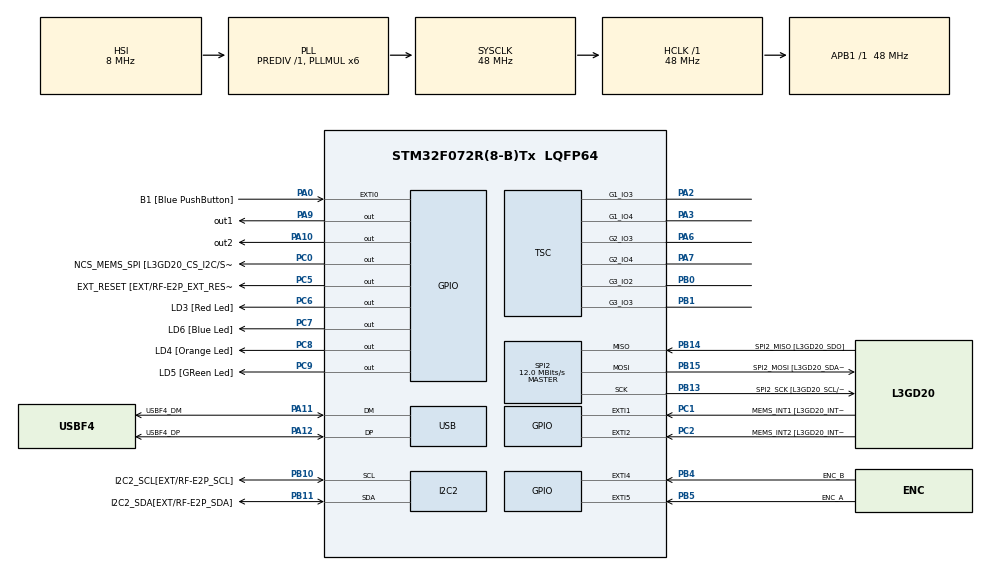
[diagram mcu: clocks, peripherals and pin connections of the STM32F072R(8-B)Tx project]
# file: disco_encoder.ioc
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I2C2.Timing=0x20303E5D
Mcu.Family=STM32F0
Mcu.Name=STM32F072R(8-B)Tx
Mcu.Package=LQFP64
NVIC.EXTI4_15_IRQn=true\:0\:0\:false\:false\:true\:true\:true
NVIC.TIM14_IRQn=true\:0\:0\:false\:false\:true\:true\:true
PA0.GPIO_Label=B1 [Blue PushButton]
PA0.GPIO_ModeDefaultEXTI=GPIO_MODE_EVT_RISING
PA0.Signal=GPXTI0
PA10.GPIO_Label=out2
PA10.Signal=GPIO_Output
PA11.GPIO_Label=USBF4_DM
PA11.Mode=Device
PA11.Signal=USB_DM
PA12.GPIO_Label=USBF4_DP
PA12.Mode=Device
PA12.Signal=USB_DP
PA13.GPIO_Label=SWDIO
PA13.Mode=Serial_Wire
PA13.Signal=SYS_SWDIO
PA14.GPIO_Label=SWCLK
PA14.Mode=Serial_Wire
PA14.Signal=SYS_SWCLK
PA2.Mode=G1_IO3-Channel
PA2.Signal=TSC_G1_IO3
PA3.Mode=G1_IO4-Sampling
PA3.Signal=TSC_G1_IO4
PA6.Mode=G2_IO3-Channel
PA6.Signal=TSC_G2_IO3
PA7.Mode=G2_IO4-Sampling
PA7.Signal=TSC_G2_IO4
PA9.GPIO_Label=out1
PA9.Signal=GPIO_Output
PB0.Mode=G3_IO2-Channel
PB0.Signal=TSC_G3_IO2
PB1.Mode=G3_IO3-Sampling
PB1.Signal=TSC_G3_IO3
PB10.GPIO_Label=I2C2_SCL[EXT/RF-E2P_SCL]
PB10.Mode=I2C
PB10.Signal=I2C2_SCL
PB11.GPIO_Label=I2C2_SDA[EXT/RF-E2P_SDA]
PB11.Mode=I2C
PB11.Signal=I2C2_SDA
PB13.GPIO_Label=SPI2_SCK [L3GD20_SCL/SPC]
PB13.Mode=Full_Duplex_Master
PB13.Signal=SPI2_SCK
PB14.GPIO_Label=SPI2_MISO [L3GD20_SDO]
PB14.Mode=Full_Duplex_Master
PB14.Signal=SPI2_MISO
PB15.GPIO_Label=SPI2_MOSI [L3GD20_SDA/SDI]
PB15.Mode=Full_Duplex_Master
PB15.Signal=SPI2_MOSI
PB4.GPIO_Label=ENC_B
PB4.GPIO_ModeDefaultEXTI=GPIO_MODE_IT_RISING_FALLING
PB4.GPIO_PuPd=GPIO_PULLDOWN
PB4.Signal=GPXTI4
PB5.GPIO_Label=ENC_A
PB5.GPIO_ModeDefaultEXTI=GPIO_MODE_IT_RISING_FALLING
PB5.GPIO_PuPd=GPIO_PULLDOWN
PB5.Signal=GPXTI5
PC0.GPIO_Label=NCS_MEMS_SPI [L3GD20_CS_I2C/SPI]
PC0.Signal=GPIO_Output
PC1.GPIO_Label=MEMS_INT1 [L3GD20_INT1]
PC1.GPIO_ModeDefaultEXTI=GPIO_MODE_EVT_RISING
PC1.Signal=GPXTI1
PC2.GPIO_Label=MEMS_INT2 [L3GD20_INT2]
PC2.GPIO_ModeDefaultEXTI=GPIO_MODE_EVT_RISING
PC2.Signal=GPXTI2
PC5.GPIO_Label=EXT_RESET [EXT/RF-E2P_EXT_RESET]
PC5.Signal=GPIO_Output
PC6.GPIO_Label=LD3 [Red Led]
PC6.Signal=GPIO_Output
PC7.GPIO_Label=LD6 [Blue Led]
PC7.Signal=GPIO_Output
PC8.GPIO_Label=LD4 [Orange Led]
PC8.Signal=GPIO_Output
PC9.GPIO_Label=LD5 [GReen Led]
PC9.Signal=GPIO_Output
ProjectManager.HeapSize=0x200
ProjectManager.StackSize=0x400
ProjectManager.TargetToolchain=STM32CubeIDE
RCC.AHBFreq_Value=48000000
RCC.APB1Freq_Value=48000000
RCC.APB1TimFreq_Value=48000000
RCC.HCLKFreq_Value=48000000
RCC.PLLMUL=RCC_PLL_MUL6
RCC.SYSCLKFreq_VALUE=48000000
RCC.SYSCLKSource=RCC_SYSCLKSOURCE_PLLCLK
SPI2.BaudRatePrescaler=SPI_BAUDRATEPRESCALER_4
SPI2.CalculateBaudRate=12.0 MBits/s
SPI2.Direction=SPI_DIRECTION_2LINES
SPI2.Mode=SPI_MODE_MASTER
SPI2.VirtualType=VM_MASTER
TIM14.Prescaler=70
USB.phy_itface=PCD_PHY_EMBEDDED
USB.speed=PCD_SPEED_FULL
VP_TIM14_VS_ClockSourceINT.Mode=Enable_Timer
board=STM32F072B-DISCO

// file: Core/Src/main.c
/* USER CODE BEGIN Header */
/**
  ******************************************************************************
  * @file           : main.c
  * @brief          : Main program body
  ******************************************************************************
  * @attention
  *
  * <h2><center>&copy; Copyright (c) 2020 STMicroelectronics.
  * All rights reserved.</center></h2>
  *
  * This software component is licensed by ST under BSD 3-Clause license,
  * the "License"; You may not use this file except in compliance with the
  * License. You may obtain a copy of the License at:
  *                        opensource.org/licenses/BSD-3-Clause
  *
  ******************************************************************************
  */
/* USER CODE END Header */
#include "main.h"

I2C_HandleTypeDef hi2c2;

SPI_HandleTypeDef hspi2;

TIM_HandleTypeDef htim14;

TSC_HandleTypeDef htsc;

PCD_HandleTypeDef hpcd_USB_FS;

void SystemClock_Config(void);
static void MX_GPIO_Init(void);
static void MX_I2C2_Init(void);
static void MX_SPI2_Init(void);
static void MX_TSC_Init(void);
static void MX_USB_PCD_Init(void);
static void MX_TIM14_Init(void);

/* USER CODE BEGIN 0 */
uint8_t enc_pin_state = 0;
uint32_t encoder_count = 0;

uint32_t virtual_enc_count = 0;
uint8_t virtual_enc_state = 0;
void enc_inc(){
	virtual_enc_count++;
	uint8_t a  = 0;
	uint8_t b  = 0;
	if (virtual_enc_state ==3){
		virtual_enc_state=0;
	}else{
		virtual_enc_state ++;
	}

	switch (virtual_enc_state){
		case 0:
			a = 0;
			b = 0;
			break;
		case 1:
			a = 1;
			b = 0;
			break;
		case 2:
			a = 1;
			b = 1;
			break;
		case 3:
			a = 0;
			b = 1;
			break;

	}
	HAL_GPIO_WritePin(out1_GPIO_Port, out1_Pin, a);
	HAL_GPIO_WritePin(out2_GPIO_Port, out2_Pin, b);

}
void enc_dec(){
	virtual_enc_count--;
	if (virtual_enc_state){
		virtual_enc_state--;
	}else{
		virtual_enc_state = 3;
	}

	uint8_t a  = 0;
	uint8_t b  = 0;
	switch (virtual_enc_state){
		case 0:
			a = 0;
			b = 0;
			break;
		case 1:
			a = 1;
			b = 0;
			break;
		case 2:
			a = 1;
			b = 1;
			break;
		case 3:
			a = 0;
			b = 1;
			break;

	}
	HAL_GPIO_WritePin(out1_GPIO_Port, out1_Pin, a);
	HAL_GPIO_WritePin(out2_GPIO_Port, out2_Pin, b);

}
/* USER CODE END 0 */

int main(void)
{

  /* MCU Configuration--------------------------------------------------------*/

  /* Reset of all peripherals, Initializes the Flash interface and the Systick. */
  HAL_Init();

  /* Configure the system clock */
  SystemClock_Config();

  /* Initialize all configured peripherals */
  MX_GPIO_Init();
  MX_I2C2_Init();
  MX_SPI2_Init();
  MX_TSC_Init();
  MX_USB_PCD_Init();
  MX_TIM14_Init();
  /* USER CODE BEGIN 2 */
  HAL_TIM_Base_Start_IT(&htim14);
  /* USER CODE END 2 */

  /* Infinite loop */
  /* USER CODE BEGIN WHILE */
  while (1)
  {

	  if (HAL_GPIO_ReadPin(B1_GPIO_Port, B1_Pin)){
		  HAL_GPIO_TogglePin(LD3_GPIO_Port, LD3_Pin);
		  if (virtual_enc_count){
			  HAL_GPIO_TogglePin(LD5_GPIO_Port, LD5_Pin);
			  for (uint32_t j = 0; j < 10000; j++){
				  enc_dec();
				  for (uint16_t k = 0; k < 2000; k++){
				  }
			  }
			  HAL_GPIO_TogglePin(LD5_GPIO_Port, LD5_Pin);

		  }else{
			  HAL_GPIO_TogglePin(LD4_GPIO_Port, LD4_Pin);
			  for (uint32_t j = 0; j <10000; j++){
				  enc_inc();
				  for (uint16_t k = 0; k < 2000; k++){
				  }
			  }
			  HAL_GPIO_TogglePin(LD4_GPIO_Port, LD4_Pin);
		  }
	  }
    /* USER CODE END WHILE */

  }
}

void SystemClock_Config(void)
{
  RCC_OscInitTypeDef RCC_OscInitStruct = {0};
  RCC_ClkInitTypeDef RCC_ClkInitStruct = {0};
  RCC_PeriphCLKInitTypeDef PeriphClkInit = {0};

  /** Initializes the RCC Oscillators according to the specified parameters
  * in the RCC_OscInitTypeDef structure.
  */
  RCC_OscInitStruct.OscillatorType = RCC_OSCILLATORTYPE_HSI|RCC_OSCILLATORTYPE_HSI48;
  RCC_OscInitStruct.HSIState = RCC_HSI_ON;
  RCC_OscInitStruct.HSI48State = RCC_HSI48_ON;
  RCC_OscInitStruct.HSICalibrationValue = RCC_HSICALIBRATION_DEFAULT;
  RCC_OscInitStruct.PLL.PLLState = RCC_PLL_ON;
  RCC_OscInitStruct.PLL.PLLSource = RCC_PLLSOURCE_HSI;
  RCC_OscInitStruct.PLL.PLLMUL = RCC_PLL_MUL6;
  RCC_OscInitStruct.PLL.PREDIV = RCC_PREDIV_DIV1;
  if (HAL_RCC_OscConfig(&RCC_OscInitStruct) != HAL_OK)
  {
    Error_Handler();
  }
  /** Initializes the CPU, AHB and APB buses clocks
  */
  RCC_ClkInitStruct.ClockType = RCC_CLOCKTYPE_HCLK|RCC_CLOCKTYPE_SYSCLK
                              |RCC_CLOCKTYPE_PCLK1;
  RCC_ClkInitStruct.SYSCLKSource = RCC_SYSCLKSOURCE_PLLCLK;
  RCC_ClkInitStruct.AHBCLKDivider = RCC_SYSCLK_DIV1;
  RCC_ClkInitStruct.APB1CLKDivider = RCC_HCLK_DIV1;

  if (HAL_RCC_ClockConfig(&RCC_ClkInitStruct, FLASH_LATENCY_1) != HAL_OK)
  {
    Error_Handler();
  }
  PeriphClkInit.PeriphClockSelection = RCC_PERIPHCLK_USB;
  PeriphClkInit.UsbClockSelection = RCC_USBCLKSOURCE_HSI48;

  if (HAL_RCCEx_PeriphCLKConfig(&PeriphClkInit) != HAL_OK)
  {
    Error_Handler();
  }
}

static void MX_I2C2_Init(void)
{

  hi2c2.Instance = I2C2;
  hi2c2.Init.Timing = 0x20303E5D;
  hi2c2.Init.OwnAddress1 = 0;
  hi2c2.Init.AddressingMode = I2C_ADDRESSINGMODE_7BIT;
  hi2c2.Init.DualAddressMode = I2C_DUALADDRESS_DISABLE;
  hi2c2.Init.OwnAddress2 = 0;
  hi2c2.Init.OwnAddress2Masks = I2C_OA2_NOMASK;
  hi2c2.Init.GeneralCallMode = I2C_GENERALCALL_DISABLE;
  hi2c2.Init.NoStretchMode = I2C_NOSTRETCH_DISABLE;
  if (HAL_I2C_Init(&hi2c2) != HAL_OK)
  {
    Error_Handler();
  }
  /** Configure Analogue filter
  */
  if (HAL_I2CEx_ConfigAnalogFilter(&hi2c2, I2C_ANALOGFILTER_ENABLE) != HAL_OK)
  {
    Error_Handler();
  }
  /** Configure Digital filter
  */
  if (HAL_I2CEx_ConfigDigitalFilter(&hi2c2, 0) != HAL_OK)
  {
    Error_Handler();
  }

}

static void MX_SPI2_Init(void)
{

  /* SPI2 parameter configuration*/
  hspi2.Instance = SPI2;
  hspi2.Init.Mode = SPI_MODE_MASTER;
  hspi2.Init.Direction = SPI_DIRECTION_2LINES;
  hspi2.Init.DataSize = SPI_DATASIZE_4BIT;
  hspi2.Init.CLKPolarity = SPI_POLARITY_LOW;
  hspi2.Init.CLKPhase = SPI_PHASE_1EDGE;
  hspi2.Init.NSS = SPI_NSS_SOFT;
  hspi2.Init.BaudRatePrescaler = SPI_BAUDRATEPRESCALER_4;
  hspi2.Init.FirstBit = SPI_FIRSTBIT_MSB;
  hspi2.Init.TIMode = SPI_TIMODE_DISABLE;
  hspi2.Init.CRCCalculation = SPI_CRCCALCULATION_DISABLE;
  hspi2.Init.CRCPolynomial = 7;
  hspi2.Init.CRCLength = SPI_CRC_LENGTH_DATASIZE;
  hspi2.Init.NSSPMode = SPI_NSS_PULSE_ENABLE;
  if (HAL_SPI_Init(&hspi2) != HAL_OK)
  {
    Error_Handler();
  }

}

static void MX_TIM14_Init(void)
{

  htim14.Instance = TIM14;
  htim14.Init.Prescaler = 70;
  htim14.Init.CounterMode = TIM_COUNTERMODE_UP;
  htim14.Init.Period = 65535;
  htim14.Init.ClockDivision = TIM_CLOCKDIVISION_DIV1;
  htim14.Init.AutoReloadPreload = TIM_AUTORELOAD_PRELOAD_DISABLE;
  if (HAL_TIM_Base_Init(&htim14) != HAL_OK)
  {
    Error_Handler();
  }

}

static void MX_TSC_Init(void)
{

  /** Configure the TSC peripheral
  */
  htsc.Instance = TSC;
  htsc.Init.CTPulseHighLength = TSC_CTPH_2CYCLES;
  htsc.Init.CTPulseLowLength = TSC_CTPL_2CYCLES;
  htsc.Init.SpreadSpectrum = DISABLE;
  htsc.Init.SpreadSpectrumDeviation = 1;
  htsc.Init.SpreadSpectrumPrescaler = TSC_SS_PRESC_DIV1;
  htsc.Init.PulseGeneratorPrescaler = TSC_PG_PRESC_DIV4;
  htsc.Init.MaxCountValue = TSC_MCV_8191;
  htsc.Init.IODefaultMode = TSC_IODEF_OUT_PP_LOW;
  htsc.Init.SynchroPinPolarity = TSC_SYNC_POLARITY_FALLING;
  htsc.Init.AcquisitionMode = TSC_ACQ_MODE_NORMAL;
  htsc.Init.MaxCountInterrupt = DISABLE;
  htsc.Init.ChannelIOs = TSC_GROUP1_IO3|TSC_GROUP2_IO3|TSC_GROUP3_IO2;
  htsc.Init.ShieldIOs = 0;
  htsc.Init.SamplingIOs = TSC_GROUP1_IO4|TSC_GROUP2_IO4|TSC_GROUP3_IO3;
  if (HAL_TSC_Init(&htsc) != HAL_OK)
  {
    Error_Handler();
  }

}

static void MX_USB_PCD_Init(void)
{

  hpcd_USB_FS.Instance = USB;
  hpcd_USB_FS.Init.dev_endpoints = 8;
  hpcd_USB_FS.Init.speed = PCD_SPEED_FULL;
  hpcd_USB_FS.Init.phy_itface = PCD_PHY_EMBEDDED;
  hpcd_USB_FS.Init.low_power_enable = DISABLE;
  hpcd_USB_FS.Init.lpm_enable = DISABLE;
  hpcd_USB_FS.Init.battery_charging_enable = DISABLE;
  if (HAL_PCD_Init(&hpcd_USB_FS) != HAL_OK)
  {
    Error_Handler();
  }

}

static void MX_GPIO_Init(void)
{
  GPIO_InitTypeDef GPIO_InitStruct = {0};

  /* GPIO Ports Clock Enable */
  __HAL_RCC_GPIOC_CLK_ENABLE();
  __HAL_RCC_GPIOA_CLK_ENABLE();
  __HAL_RCC_GPIOB_CLK_ENABLE();

  /*Configure GPIO pin Output Level */
  HAL_GPIO_WritePin(GPIOC, NCS_MEMS_SPI_Pin|EXT_RESET_Pin|LD3_Pin|LD6_Pin
                          |LD4_Pin|LD5_Pin, GPIO_PIN_RESET);

  /*Configure GPIO pin Output Level */
  HAL_GPIO_WritePin(GPIOA, out1_Pin|out2_Pin, GPIO_PIN_RESET);

  /*Configure GPIO pins : NCS_MEMS_SPI_Pin EXT_RESET_Pin LD3_Pin LD6_Pin
                           LD4_Pin LD5_Pin */
  GPIO_InitStruct.Pin = NCS_MEMS_SPI_Pin|EXT_RESET_Pin|LD3_Pin|LD6_Pin
                          |LD4_Pin|LD5_Pin;
  GPIO_InitStruct.Mode = GPIO_MODE_OUTPUT_PP;
  GPIO_InitStruct.Pull = GPIO_NOPULL;
  GPIO_InitStruct.Speed = GPIO_SPEED_FREQ_LOW;
  HAL_GPIO_Init(GPIOC, &GPIO_InitStruct);

  /*Configure GPIO pins : MEMS_INT1_Pin MEMS_INT2_Pin */
  GPIO_InitStruct.Pin = MEMS_INT1_Pin|MEMS_INT2_Pin;
  GPIO_InitStruct.Mode = GPIO_MODE_EVT_RISING;
  GPIO_InitStruct.Pull = GPIO_NOPULL;
  HAL_GPIO_Init(GPIOC, &GPIO_InitStruct);

  /*Configure GPIO pin : B1_Pin */
  GPIO_InitStruct.Pin = B1_Pin;
  GPIO_InitStruct.Mode = GPIO_MODE_EVT_RISING;
  GPIO_InitStruct.Pull = GPIO_NOPULL;
  HAL_GPIO_Init(B1_GPIO_Port, &GPIO_InitStruct);

  /*Configure GPIO pins : out1_Pin out2_Pin */
  GPIO_InitStruct.Pin = out1_Pin|out2_Pin;
  GPIO_InitStruct.Mode = GPIO_MODE_OUTPUT_PP;
  GPIO_InitStruct.Pull = GPIO_NOPULL;
  GPIO_InitStruct.Speed = GPIO_SPEED_FREQ_LOW;
  HAL_GPIO_Init(GPIOA, &GPIO_InitStruct);

  /*Configure GPIO pins : ENC_B_Pin ENC_A_Pin */
  GPIO_InitStruct.Pin = ENC_B_Pin|ENC_A_Pin;
  GPIO_InitStruct.Mode = GPIO_MODE_IT_RISING_FALLING;
  GPIO_InitStruct.Pull = GPIO_PULLDOWN;
  HAL_GPIO_Init(GPIOB, &GPIO_InitStruct);

  /* EXTI interrupt init*/
  HAL_NVIC_SetPriority(EXTI4_15_IRQn, 0, 0);
  HAL_NVIC_EnableIRQ(EXTI4_15_IRQn);

}

/* USER CODE BEGIN 4 */

void encoderController(){
	if(1){
		uint8_t enc_pins_reading = 2 * HAL_GPIO_ReadPin(ENC_A_GPIO_Port, ENC_A_Pin) + HAL_GPIO_ReadPin(ENC_B_GPIO_Port, ENC_B_Pin);
		switch(enc_pin_state){
		case 0:
			if(enc_pins_reading == 2){
				encoder_count++;
			}else if(enc_pins_reading == 1){
				encoder_count--;
			}
			break;
		case 2:
			if(enc_pins_reading == 3){
				encoder_count++;
			}else if(enc_pins_reading == 0){
				encoder_count--;
			}
			break;
		case 3:
			if(enc_pins_reading == 1){
					encoder_count++;
				}else if(enc_pins_reading == 2){
					encoder_count--;
				}
			break;
		case 1:
			if(enc_pins_reading == 0){
					encoder_count++;
				}else if(enc_pins_reading == 3){
					encoder_count--;
				}
			break;
		}
		enc_pin_state = enc_pins_reading;
	}
}
uint32_t its_count=0;
void HAL_GPIO_EXTI_Callback(uint16_t GPIO_Pin)
{
  /* Prevent unused argument(s) compilation warning */
  if (GPIO_Pin){
	  its_count++;
	  encoderController();
  }

}
/* USER CODE END 4 */

void Error_Handler(void)
{
  __disable_irq();
  while (1)
  {
  }
}

/************************ (C) COPYRIGHT STMicroelectronics *****END OF FILE****/
